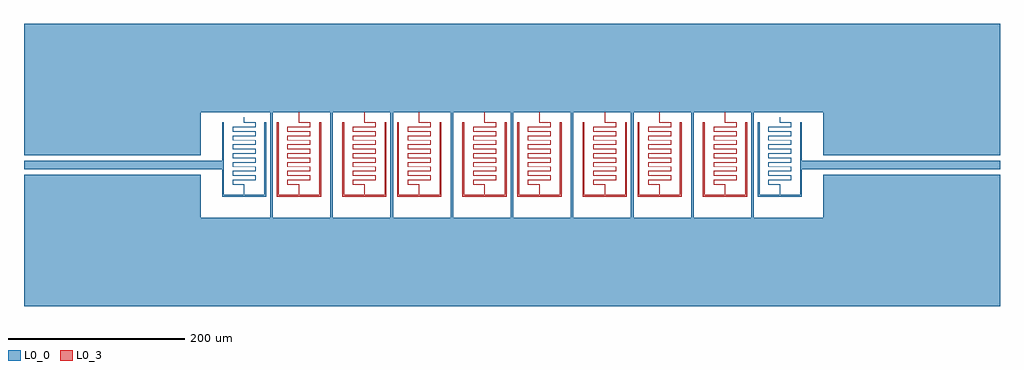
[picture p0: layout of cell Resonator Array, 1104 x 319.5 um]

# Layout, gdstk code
import gdstk
lib = gdstk.Library(unit=1e-6, precision=1e-09)
def P(c, l, *ps):  # polygons
    for p in ps: c.add(gdstk.Polygon(p, *l))
L0_0 = (0, 0)
L0_3 = (0, 3)

resonator_array = lib.new_cell('Resonator Array')
P(resonator_array, L0_0, [(793,24.75),(593,24.75),(593,-24),(514.5,-24),(514.5,95.5),(593,95.5),(593,46.75),(793,46.75),(793,195.5),(-311,195.5),(-311,46.75),(-111,46.75),(-111,95.5),(-32.5,95.5),(-32.5,-24),(-29.5,-24),(-29.5,95.5),(35.5,95.5),(35.5,-24),(38.5,-24),(38.5,95.5),(103.5,95.5),(103.5,-24),(106.5,-24),(106.5,95.5),(171.5,95.5),(171.5,-24),(174.5,-24),(174.5,95.5),(239.5,95.5),(239.5,-24),(242.5,-24),(242.5,95.5),(307.5,95.5),(307.5,-24),(310.5,-24),(310.5,95.5),(375.5,95.5),(375.5,-24),(378.5,-24),(378.5,95.5),(443.5,95.5),(443.5,-24),(446.5,-24),(446.5,95.5),(511.5,95.5),(511.5,-24),(446.5,-24),(443.5,-24),(378.5,-24),(375.5,-24),(310.5,-24),(307.5,-24),(242.5,-24),(239.5,-24),(174.5,-24),(171.5,-24),(106.5,-24),(103.5,-24),(38.5,-24),(35.5,-24),(-29.5,-24),(-32.5,-24),(-111,-24),(-111,24.75),(-311,24.75),(-311,-124),(793,-124)],
  [(-37,84),(-39,84),(-39,2),(-61.75,2),(-61.75,14),(-74.5,14),(-74.5,18.5),(-49,18.5),(-49,24),(-74.5,24),(-74.5,28.5),(-49,28.5),(-49,34),(-74.5,34),(-74.5,38.5),(-49,38.5),(-49,44),(-74.5,44),(-74.5,48.5),(-49,48.5),(-49,54),(-74.5,54),(-74.5,58.5),(-49,58.5),(-49,64),(-74.5,64),(-74.5,68.5),(-49,68.5),(-49,74),(-74.5,74),(-74.5,78.5),(-49,78.5),(-49,84),(-61.75,84),(-61.75,89.625),(-62.25,89.625),(-62.25,83.5),(-49.5,83.5),(-49.5,79),(-75,79),(-75,73.5),(-49.5,73.5),(-49.5,69),(-75,69),(-75,63.5),(-49.5,63.5),(-49.5,59),(-75,59),(-75,53.5),(-49.5,53.5),(-49.5,49),(-75,49),(-75,43.5),(-49.5,43.5),(-49.5,39),(-75,39),(-75,33.5),(-49.5,33.5),(-49.5,29),(-75,29),(-75,23.5),(-49.5,23.5),(-49.5,19),(-75,19),(-75,13.5),(-62.25,13.5),(-62.25,2),(-85,2),(-85,84),(-87,84),(-87,40.75),(-311,40.75),(-311,30.75),(-87,30.75),(-87,0),(-37,0)],
  [(569,30.75),(793,30.75),(793,40.75),(569,40.75),(569,84),(567,84),(567,2),(544.25,2),(544.25,14),(531.5,14),(531.5,18.5),(557,18.5),(557,24),(531.5,24),(531.5,28.5),(557,28.5),(557,34),(531.5,34),(531.5,38.5),(557,38.5),(557,44),(531.5,44),(531.5,48.5),(557,48.5),(557,54),(531.5,54),(531.5,58.5),(557,58.5),(557,64),(531.5,64),(531.5,68.5),(557,68.5),(557,74),(531.5,74),(531.5,78.5),(557,78.5),(557,84),(544.25,84),(544.25,89.625),(543.75,89.625),(543.75,83.5),(556.5,83.5),(556.5,79),(531,79),(531,73.5),(556.5,73.5),(556.5,69),(531,69),(531,63.5),(556.5,63.5),(556.5,59),(531,59),(531,53.5),(556.5,53.5),(556.5,49),(531,49),(531,43.5),(556.5,43.5),(556.5,39),(531,39),(531,33.5),(556.5,33.5),(556.5,29),(531,29),(531,23.5),(556.5,23.5),(556.5,19),(531,19),(531,13.5),(543.75,13.5),(543.75,2),(521,2),(521,84),(519,84),(519,0),(569,0)])
P(resonator_array, L0_3, [(-23,84),(-25,84),(-25,0),(25,0),(25,84),(23,84),(23,2),(-23,2)],
  [(-0.25,2),(0.25,2),(0.25,14),(0.25,14),(-12.5,14),(-12.5,18.5),(0,18.5),(13,18.5),(13,24),(0,24),(-12.5,24),(-12.5,28.5),(0,28.5),(13,28.5),(13,34),(0,34),(-12.5,34),(-12.5,38.5),(0,38.5),(13,38.5),(13,44),(0,44),(-12.5,44),(-12.5,48.5),(0,48.5),(13,48.5),(13,54),(0,54),(-12.5,54),(-12.5,58.5),(0,58.5),(13,58.5),(13,64),(0,64),(-12.5,64),(-12.5,68.5),(0,68.5),(13,68.5),(13,74),(0,74),(-12.5,74),(-12.5,78.5),(0,78.5),(13,78.5),(13,84),(0.25,84),(0.25,95.5),(-0.25,95.5),(-0.25,83.5),(-0.25,83.5),(12.5,83.5),(12.5,79),(0,79),(-13,79),(-13,73.5),(0,73.5),(12.5,73.5),(12.5,69),(0,69),(-13,69),(-13,63.5),(0,63.5),(12.5,63.5),(12.5,59),(0,59),(-13,59),(-13,53.5),(0,53.5),(12.5,53.5),(12.5,49),(0,49),(-13,49),(-13,43.5),(0,43.5),(12.5,43.5),(12.5,39),(0,39),(-13,39),(-13,33.5),(0,33.5),(12.5,33.5),(12.5,29),(0,29),(-13,29),(-13,23.5),(0,23.5),(12.5,23.5),(12.5,19),(0,19),(-13,19),(-13,13.5),(-0.25,13.5)],
  [(51,84),(49,84),(49,0),(99,0),(99,84),(97,84),(97,2),(51,2)],
  [(73.75,2),(74.25,2),(74.25,14),(74.25,14),(61.5,14),(61.5,18.5),(74,18.5),(87,18.5),(87,24),(74,24),(61.5,24),(61.5,28.5),(74,28.5),(87,28.5),(87,34),(74,34),(61.5,34),(61.5,38.5),(74,38.5),(87,38.5),(87,44),(74,44),(61.5,44),(61.5,48.5),(74,48.5),(87,48.5),(87,54),(74,54),(61.5,54),(61.5,58.5),(74,58.5),(87,58.5),(87,64),(74,64),(61.5,64),(61.5,68.5),(74,68.5),(87,68.5),(87,74),(74,74),(61.5,74),(61.5,78.5),(74,78.5),(87,78.5),(87,84),(74.25,84),(74.25,95.5),(73.75,95.5),(73.75,83.5),(73.75,83.5),(86.5,83.5),(86.5,79),(74,79),(61,79),(61,73.5),(74,73.5),(86.5,73.5),(86.5,69),(74,69),(61,69),(61,63.5),(74,63.5),(86.5,63.5),(86.5,59),(74,59),(61,59),(61,53.5),(74,53.5),(86.5,53.5),(86.5,49),(74,49),(61,49),(61,43.5),(74,43.5),(86.5,43.5),(86.5,39),(74,39),(61,39),(61,33.5),(74,33.5),(86.5,33.5),(86.5,29),(74,29),(61,29),(61,23.5),(74,23.5),(86.5,23.5),(86.5,19),(74,19),(61,19),(61,13.5),(73.75,13.5)],
  [(113,84),(111,84),(111,0),(161,0),(161,84),(159,84),(159,2),(113,2)],
  [(135.75,2),(136.25,2),(136.25,14),(136.25,14),(123.5,14),(123.5,18.5),(136,18.5),(149,18.5),(149,24),(136,24),(123.5,24),(123.5,28.5),(136,28.5),(149,28.5),(149,34),(136,34),(123.5,34),(123.5,38.5),(136,38.5),(149,38.5),(149,44),(136,44),(123.5,44),(123.5,48.5),(136,48.5),(149,48.5),(149,54),(136,54),(123.5,54),(123.5,58.5),(136,58.5),(149,58.5),(149,64),(136,64),(123.5,64),(123.5,68.5),(136,68.5),(149,68.5),(149,74),(136,74),(123.5,74),(123.5,78.5),(136,78.5),(149,78.5),(149,84),(136.25,84),(136.25,95.5),(135.75,95.5),(135.75,83.5),(135.75,83.5),(148.5,83.5),(148.5,79),(136,79),(123,79),(123,73.5),(136,73.5),(148.5,73.5),(148.5,69),(136,69),(123,69),(123,63.5),(136,63.5),(148.5,63.5),(148.5,59),(136,59),(123,59),(123,53.5),(136,53.5),(148.5,53.5),(148.5,49),(136,49),(123,49),(123,43.5),(136,43.5),(148.5,43.5),(148.5,39),(136,39),(123,39),(123,33.5),(136,33.5),(148.5,33.5),(148.5,29),(136,29),(123,29),(123,23.5),(136,23.5),(148.5,23.5),(148.5,19),(136,19),(123,19),(123,13.5),(135.75,13.5)],
  [(187,84),(185,84),(185,0),(235,0),(235,84),(233,84),(233,2),(187,2)],
  [(209.75,2),(210.25,2),(210.25,14),(210.25,14),(197.5,14),(197.5,18.5),(210,18.5),(223,18.5),(223,24),(210,24),(197.5,24),(197.5,28.5),(210,28.5),(223,28.5),(223,34),(210,34),(197.5,34),(197.5,38.5),(210,38.5),(223,38.5),(223,44),(210,44),(197.5,44),(197.5,48.5),(210,48.5),(223,48.5),(223,54),(210,54),(197.5,54),(197.5,58.5),(210,58.5),(223,58.5),(223,64),(210,64),(197.5,64),(197.5,68.5),(210,68.5),(223,68.5),(223,74),(210,74),(197.5,74),(197.5,78.5),(210,78.5),(223,78.5),(223,84),(210.25,84),(210.25,95.5),(209.75,95.5),(209.75,83.5),(209.75,83.5),(222.5,83.5),(222.5,79),(210,79),(197,79),(197,73.5),(210,73.5),(222.5,73.5),(222.5,69),(210,69),(197,69),(197,63.5),(210,63.5),(222.5,63.5),(222.5,59),(210,59),(197,59),(197,53.5),(210,53.5),(222.5,53.5),(222.5,49),(210,49),(197,49),(197,43.5),(210,43.5),(222.5,43.5),(222.5,39),(210,39),(197,39),(197,33.5),(210,33.5),(222.5,33.5),(222.5,29),(210,29),(197,29),(197,23.5),(210,23.5),(222.5,23.5),(222.5,19),(210,19),(197,19),(197,13.5),(209.75,13.5)],
  [(249,84),(247,84),(247,0),(297,0),(297,84),(295,84),(295,2),(249,2)],
  [(271.75,2),(272.25,2),(272.25,14),(272.25,14),(259.5,14),(259.5,18.5),(272,18.5),(285,18.5),(285,24),(272,24),(259.5,24),(259.5,28.5),(272,28.5),(285,28.5),(285,34),(272,34),(259.5,34),(259.5,38.5),(272,38.5),(285,38.5),(285,44),(272,44),(259.5,44),(259.5,48.5),(272,48.5),(285,48.5),(285,54),(272,54),(259.5,54),(259.5,58.5),(272,58.5),(285,58.5),(285,64),(272,64),(259.5,64),(259.5,68.5),(272,68.5),(285,68.5),(285,74),(272,74),(259.5,74),(259.5,78.5),(272,78.5),(285,78.5),(285,84),(272.25,84),(272.25,95.5),(271.75,95.5),(271.75,83.5),(271.75,83.5),(284.5,83.5),(284.5,79),(272,79),(259,79),(259,73.5),(272,73.5),(284.5,73.5),(284.5,69),(272,69),(259,69),(259,63.5),(272,63.5),(284.5,63.5),(284.5,59),(272,59),(259,59),(259,53.5),(272,53.5),(284.5,53.5),(284.5,49),(272,49),(259,49),(259,43.5),(272,43.5),(284.5,43.5),(284.5,39),(272,39),(259,39),(259,33.5),(272,33.5),(284.5,33.5),(284.5,29),(272,29),(259,29),(259,23.5),(272,23.5),(284.5,23.5),(284.5,19),(272,19),(259,19),(259,13.5),(271.75,13.5)],
  [(323,84),(321,84),(321,0),(371,0),(371,84),(369,84),(369,2),(323,2)],
  [(345.75,2),(346.25,2),(346.25,14),(346.25,14),(333.5,14),(333.5,18.5),(346,18.5),(359,18.5),(359,24),(346,24),(333.5,24),(333.5,28.5),(346,28.5),(359,28.5),(359,34),(346,34),(333.5,34),(333.5,38.5),(346,38.5),(359,38.5),(359,44),(346,44),(333.5,44),(333.5,48.5),(346,48.5),(359,48.5),(359,54),(346,54),(333.5,54),(333.5,58.5),(346,58.5),(359,58.5),(359,64),(346,64),(333.5,64),(333.5,68.5),(346,68.5),(359,68.5),(359,74),(346,74),(333.5,74),(333.5,78.5),(346,78.5),(359,78.5),(359,84),(346.25,84),(346.25,95.5),(345.75,95.5),(345.75,83.5),(345.75,83.5),(358.5,83.5),(358.5,79),(346,79),(333,79),(333,73.5),(346,73.5),(358.5,73.5),(358.5,69),(346,69),(333,69),(333,63.5),(346,63.5),(358.5,63.5),(358.5,59),(346,59),(333,59),(333,53.5),(346,53.5),(358.5,53.5),(358.5,49),(346,49),(333,49),(333,43.5),(346,43.5),(358.5,43.5),(358.5,39),(346,39),(333,39),(333,33.5),(346,33.5),(358.5,33.5),(358.5,29),(346,29),(333,29),(333,23.5),(346,23.5),(358.5,23.5),(358.5,19),(346,19),(333,19),(333,13.5),(345.75,13.5)],
  [(385,84),(383,84),(383,0),(433,0),(433,84),(431,84),(431,2),(385,2)],
  [(407.75,2),(408.25,2),(408.25,14),(408.25,14),(395.5,14),(395.5,18.5),(408,18.5),(421,18.5),(421,24),(408,24),(395.5,24),(395.5,28.5),(408,28.5),(421,28.5),(421,34),(408,34),(395.5,34),(395.5,38.5),(408,38.5),(421,38.5),(421,44),(408,44),(395.5,44),(395.5,48.5),(408,48.5),(421,48.5),(421,54),(408,54),(395.5,54),(395.5,58.5),(408,58.5),(421,58.5),(421,64),(408,64),(395.5,64),(395.5,68.5),(408,68.5),(421,68.5),(421,74),(408,74),(395.5,74),(395.5,78.5),(408,78.5),(421,78.5),(421,84),(408.25,84),(408.25,95.5),(407.75,95.5),(407.75,83.5),(407.75,83.5),(420.5,83.5),(420.5,79),(408,79),(395,79),(395,73.5),(408,73.5),(420.5,73.5),(420.5,69),(408,69),(395,69),(395,63.5),(408,63.5),(420.5,63.5),(420.5,59),(408,59),(395,59),(395,53.5),(408,53.5),(420.5,53.5),(420.5,49),(408,49),(395,49),(395,43.5),(408,43.5),(420.5,43.5),(420.5,39),(408,39),(395,39),(395,33.5),(408,33.5),(420.5,33.5),(420.5,29),(408,29),(395,29),(395,23.5),(408,23.5),(420.5,23.5),(420.5,19),(408,19),(395,19),(395,13.5),(407.75,13.5)],
  [(459,84),(457,84),(457,0),(507,0),(507,84),(505,84),(505,2),(459,2)],
  [(481.75,2),(482.25,2),(482.25,14),(482.25,14),(469.5,14),(469.5,18.5),(482,18.5),(495,18.5),(495,24),(482,24),(469.5,24),(469.5,28.5),(482,28.5),(495,28.5),(495,34),(482,34),(469.5,34),(469.5,38.5),(482,38.5),(495,38.5),(495,44),(482,44),(469.5,44),(469.5,48.5),(482,48.5),(495,48.5),(495,54),(482,54),(469.5,54),(469.5,58.5),(482,58.5),(495,58.5),(495,64),(482,64),(469.5,64),(469.5,68.5),(482,68.5),(495,68.5),(495,74),(482,74),(469.5,74),(469.5,78.5),(482,78.5),(495,78.5),(495,84),(482.25,84),(482.25,95.5),(481.75,95.5),(481.75,83.5),(481.75,83.5),(494.5,83.5),(494.5,79),(482,79),(469,79),(469,73.5),(482,73.5),(494.5,73.5),(494.5,69),(482,69),(469,69),(469,63.5),(482,63.5),(494.5,63.5),(494.5,59),(482,59),(469,59),(469,53.5),(482,53.5),(494.5,53.5),(494.5,49),(482,49),(469,49),(469,43.5),(482,43.5),(494.5,43.5),(494.5,39),(482,39),(469,39),(469,33.5),(482,33.5),(494.5,33.5),(494.5,29),(482,29),(469,29),(469,23.5),(482,23.5),(494.5,23.5),(494.5,19),(482,19),(469,19),(469,13.5),(481.75,13.5)])

lib.write_gds('Resonator_Array.gds')
